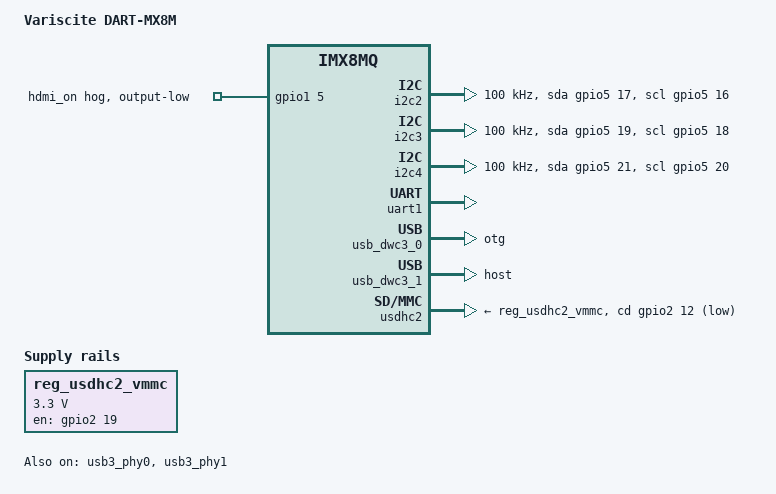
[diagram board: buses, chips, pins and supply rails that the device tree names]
// SPDX-License-Identifier: (GPL-2.0 OR MIT)
/*
 * Copyright 2017 NXP
 * Copyright (C) 2017-2018 Pengutronix, Lucas Stach <kernel@pengutronix.de>
 * Copyright 2020 Variscite Ltd.
 */

/dts-v1/;

#include "imx8mq-var-dart.dtsi"

/ {
	model = "Variscite DART-MX8M";
	compatible = "fsl,imx8mq-evk", "fsl,imx8mq";

	chosen {
		bootargs = "console=ttymxc0,115200 earlycon=ec_imx6q,0x30860000,115200";
		stdout-path = &uart1;
	};

	reg_usdhc2_vmmc: regulator-vsd-3v3 {
		pinctrl-names = "default";
		pinctrl-0 = <&pinctrl_reg_usdhc2>;
		compatible = "regulator-fixed";
		regulator-name = "VSD_3V3";
		regulator-min-microvolt = <3300000>;
		regulator-max-microvolt = <3300000>;
		gpio = <&gpio2 19 GPIO_ACTIVE_HIGH>;
		off-on-delay-us = <20000>;
		enable-active-high;
	};
};

&dcss {
	status = "disabled";
	port@0 {
		dcss_out: endpoint {
			remote-endpoint = <&hdmi_in>;
		};
	};
};

&gpio1 {
	pinctrl-names = "default";
	pinctrl-0 = <&pinctrl_hdmi>;

	hdmi_on_hog {
		gpio-hog;
		gpios = <5 0>;
		output-low;
		line-name = "hdmi_on";
	};
};

&hdmi {
	compatible = "fsl,imx8mq-hdmi";
	status = "disabled";

	display-timings {
		native-mode = <&timing1>;

		timing1: timing1 {
			clock-frequency = <74250000>;
			hactive = <1280>;
			vactive = <720>;
			hfront-porch = <220>;
			hback-porch = <110>;
			hsync-len = <40>;
			vback-porch = <5>;
			vfront-porch = <20>;
			vsync-len = <5>;
		};
	};

	port@0 {
		hdmi_in: endpoint {
			remote-endpoint = <&dcss_out>;
		};
	};
};

&iomuxc {
	pinctrl_hdmi: hdmigrp {
		fsl,pins = <
			MX8MQ_IOMUXC_GPIO1_IO05_GPIO1_IO5		0xc1
		>;
	};

	pinctrl_i2c2: i2c2grp {
		fsl,pins = <
			MX8MQ_IOMUXC_I2C2_SCL_I2C2_SCL			0x4000007f
			MX8MQ_IOMUXC_I2C2_SDA_I2C2_SDA			0x4000007f
		>;
	};

	pinctrl_i2c3: i2c3grp {
		fsl,pins = <
			MX8MQ_IOMUXC_I2C3_SCL_I2C3_SCL			0x4000007f
			MX8MQ_IOMUXC_I2C3_SDA_I2C3_SDA			0x4000007f
		>;
	};

	pinctrl_i2c4: i2c4grp {
		fsl,pins = <
			MX8MQ_IOMUXC_I2C4_SCL_I2C4_SCL			0x4000007f
			MX8MQ_IOMUXC_I2C4_SDA_I2C4_SDA			0x4000007f
		>;
	};

	pinctrl_i2c2_gpio: i2c2grp-gpio {
		fsl,pins = <
			MX8MQ_IOMUXC_I2C2_SCL_GPIO5_IO16        		0x7f
			MX8MQ_IOMUXC_I2C2_SDA_GPIO5_IO17        		0x7f
		>;
	};

	pinctrl_i2c3_gpio: i2c3grp-gpio {
		fsl,pins = <
			MX8MQ_IOMUXC_I2C3_SCL_GPIO5_IO18        		0x7f
			MX8MQ_IOMUXC_I2C3_SDA_GPIO5_IO19        		0x7f
		>;
	};

	pinctrl_i2c4_gpio: i2c4grp-gpio {
		fsl,pins = <
			MX8MQ_IOMUXC_I2C4_SCL_GPIO5_IO20        		0x7f
			MX8MQ_IOMUXC_I2C4_SDA_GPIO5_IO21        		0x7f
		>;
	};


	pinctrl_reg_usdhc2: regusdhc2grpgpio {
		fsl,pins = <
			MX8MQ_IOMUXC_SD2_CD_B_GPIO2_IO12	0x41
			MX8MQ_IOMUXC_SD2_RESET_B_GPIO2_IO19		0x41
		>;
	};

	pinctrl_uart1: uart1grp {
		fsl,pins = <
			MX8MQ_IOMUXC_UART1_RXD_UART1_DCE_RX		0x79
			MX8MQ_IOMUXC_UART1_TXD_UART1_DCE_TX		0x79
		>;
	};

	pinctrl_usdhc2: usdhc2grp {
		fsl,pins = <
			MX8MQ_IOMUXC_SD2_CLK_USDHC2_CLK			0x83
			MX8MQ_IOMUXC_SD2_CMD_USDHC2_CMD			0xc3
			MX8MQ_IOMUXC_SD2_DATA0_USDHC2_DATA0		0xc3
			MX8MQ_IOMUXC_SD2_DATA1_USDHC2_DATA1		0xc3
			MX8MQ_IOMUXC_SD2_DATA2_USDHC2_DATA2		0xc3
			MX8MQ_IOMUXC_SD2_DATA3_USDHC2_DATA3		0xc3
			MX8MQ_IOMUXC_GPIO1_IO04_USDHC2_VSELECT		0xc1
		>;
	};

	pinctrl_usdhc2_100mhz: usdhc2-100grp {
		fsl,pins = <
			MX8MQ_IOMUXC_SD2_CLK_USDHC2_CLK			0x85
			MX8MQ_IOMUXC_SD2_CMD_USDHC2_CMD			0xc5
			MX8MQ_IOMUXC_SD2_DATA0_USDHC2_DATA0		0xc5
			MX8MQ_IOMUXC_SD2_DATA1_USDHC2_DATA1		0xc5
			MX8MQ_IOMUXC_SD2_DATA2_USDHC2_DATA2		0xc5
			MX8MQ_IOMUXC_SD2_DATA3_USDHC2_DATA3		0xc5
			MX8MQ_IOMUXC_GPIO1_IO04_USDHC2_VSELECT		0xc1
		>;
	};

	pinctrl_usdhc2_200mhz: usdhc2-200grp {
		fsl,pins = <
			MX8MQ_IOMUXC_SD2_CLK_USDHC2_CLK			0x87
			MX8MQ_IOMUXC_SD2_CMD_USDHC2_CMD			0xc7
			MX8MQ_IOMUXC_SD2_DATA0_USDHC2_DATA0		0xc7
			MX8MQ_IOMUXC_SD2_DATA1_USDHC2_DATA1		0xc7
			MX8MQ_IOMUXC_SD2_DATA2_USDHC2_DATA2		0xc7
			MX8MQ_IOMUXC_SD2_DATA3_USDHC2_DATA3		0xc7
			MX8MQ_IOMUXC_GPIO1_IO04_USDHC2_VSELECT		0xc1
		>;
	};
};

&i2c2 {
	clock-frequency = <100000>;
	pinctrl-names = "default", "gpio";
	pinctrl-0 = <&pinctrl_i2c2>;
	pinctrl-1 = <&pinctrl_i2c2_gpio>;
	scl-gpios = <&gpio5 16 GPIO_ACTIVE_HIGH>;
	sda-gpios = <&gpio5 17 GPIO_ACTIVE_HIGH>;
	status = "okay";
};

&i2c3 {
	clock-frequency = <100000>;
	pinctrl-names = "default", "gpio";
	pinctrl-0 = <&pinctrl_i2c3>;
	pinctrl-1 = <&pinctrl_i2c3_gpio>;
	scl-gpios = <&gpio5 18 GPIO_ACTIVE_HIGH>;
	sda-gpios = <&gpio5 19 GPIO_ACTIVE_HIGH>;
	status = "okay";
};

&i2c4 {
	clock-frequency = <100000>;
	pinctrl-names = "default", "gpio";
	pinctrl-0 = <&pinctrl_i2c4>;
	pinctrl-1 = <&pinctrl_i2c4_gpio>;
	scl-gpios = <&gpio5 20 GPIO_ACTIVE_HIGH>;
	sda-gpios = <&gpio5 21 GPIO_ACTIVE_HIGH>;
	status = "okay";
};

/* console */
&uart1 {
	pinctrl-names = "default";
	pinctrl-0 = <&pinctrl_uart1>;
	assigned-clocks = <&clk IMX8MQ_CLK_UART1>;
	assigned-clock-parents = <&clk IMX8MQ_CLK_25M>;
	status = "okay";
};

&usb3_phy0 {
	status = "okay";
};

&usb_dwc3_0 {
	dr_mode = "otg";
	hnp-disable;
	srp-disable;
	adp-disable;
	usb-role-switch;
	snps,dis-u1-entry-quirk;
	snps,dis-u2-entry-quirk;
	status = "okay";
};

&usb3_phy1 {
	status = "okay";
};

&usb_dwc3_1 {
	dr_mode = "host";
	status = "okay";
};

/* SD card */
&usdhc2 {
	pinctrl-names = "default", "state_100mhz", "state_200mhz";
	pinctrl-0 = <&pinctrl_usdhc2>;
	pinctrl-1 = <&pinctrl_usdhc2_100mhz>;
	pinctrl-2 = <&pinctrl_usdhc2_200mhz>;
	cd-gpios = <&gpio2 12 GPIO_ACTIVE_LOW>;
	vmmc-supply = <&reg_usdhc2_vmmc>;
	status = "okay";
};
